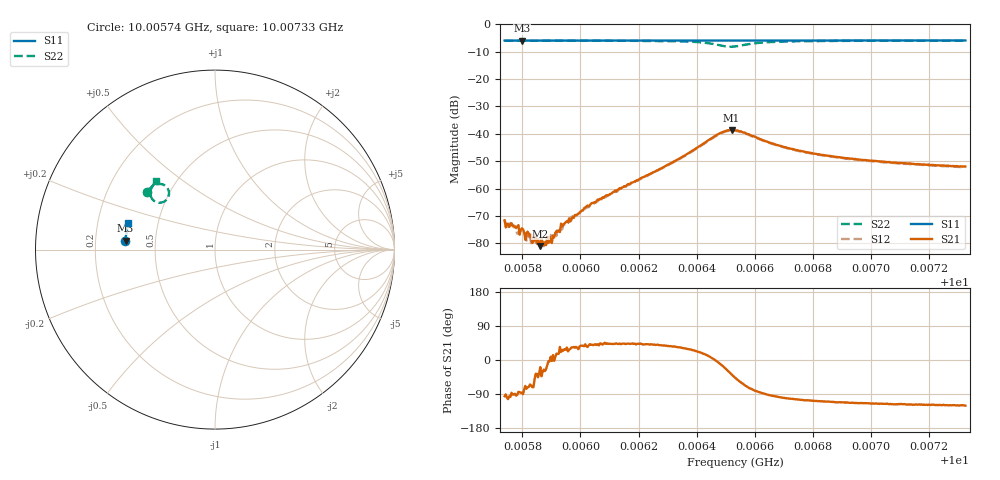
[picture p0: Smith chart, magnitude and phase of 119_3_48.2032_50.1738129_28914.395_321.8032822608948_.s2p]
#  HZ  S  RI  R  50.00
! Rohde & Schwarz Vector Network Analyzer
! Rohde-Schwarz,ZNB20-2Port,1311601062101988,3.16
! Created: UTC 3/20/2024, 11:41:20 AM
! freq[Hz]  re:S11  im:S11  re:S21  im:S21  re:S12  im:S12  re:S22  im:S22
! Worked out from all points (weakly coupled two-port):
!   401 points, 10.00574 GHz to 10.00733 GHz, reference 50 ohm
!   highest |S21| = -38.57 dB at 10.00652 GHz (marker M1); lowest = -81.0 dB at 10.00586 GHz (marker M2)
!   lowest |S11| = -6.0 dB at 10.0058 GHz (marker M3), VSWR 3.01, Z = 16.7 + j2.2 ohm
!   |S11| at or under -10 dB: nowhere
!   |S22| runs from -8.2 to -6.0 dB; largest |S21 - S12| = 0.00077
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1.0005739e10  -0.4992 0.0456  -2.51e-05 -0.000262  -4.52e-05 -0.000262  -0.3794 0.3217
1.0005751e10  -0.499 0.0463  -5.19e-05 -0.000223  -4.05e-05 -0.000197  -0.3791 0.3224
1.0005766e10  -0.4989 0.0473  -3.96e-06 -0.000206  -1.38e-05 -0.000217  -0.3782 0.3234
1.0005782e10  -0.4988 0.0484  -6.82e-06 -0.000204  -6.07e-06 -0.00015  -0.3773 0.3244
1.0005798e10  -0.4986 0.0495  1.25e-05 -0.000187  1.57e-05 -0.000172  -0.3766 0.3254
1.0005822e10  -0.4986 0.0508  4.91e-05 -0.000142  3.18e-05 -0.000117  -0.3753 0.327
1.000583e10  -0.4987 0.0516  5.67e-05 -0.000134  3.41e-05 -9.47e-05  -0.3748 0.3273
1.0005842e10  -0.4985 0.0523  7.27e-05 -9.16e-05  5.51e-05 -0.000114  -0.3742 0.3283
1.0005862e10  -0.4985 0.0536  8.48e-05 -2.9e-05  9.24e-05 -2.64e-05  -0.373 0.3296
1.000587e10  -0.4984 0.054  9.13e-05 -5.4e-05  9.7e-05 -6.42e-05  -0.3726 0.33
1.0005897e10  -0.4982 0.0557  0.000111 1.67e-05  0.000142 9.46e-06  -0.3711 0.3318
1.0005941e10  -0.498 0.0589  0.000202 9.37e-05  0.000187 0.000103  -0.3686 0.3346
1.0006005e10  -0.4976 0.0629  0.000314 0.000245  0.00029 0.00028  -0.3646 0.339
1.0006072e10  -0.4972 0.0672  0.000467 0.000434  0.000448 0.000445  -0.3596 0.3438
1.000627e10  -0.4955 0.0802  0.00173 0.00141  0.00164 0.00148  -0.3373 0.3597
1.0006473e10  -0.4929 0.0931  0.00966 -0.000879  0.00947 -0.000384  -0.2586 0.3296
1.000652e10  -0.4924 0.0955  0.00924 -0.00732  0.00936 -0.00656  -0.2749 0.2733
1.0006532e10  -0.4922 0.0961  0.00801 -0.00844  0.00824 -0.00778  -0.2886 0.265
1.000662e10  -0.4921 0.1016  0.00058 -0.00792  0.000936 -0.00778  -0.355 0.2898
1.0006798e10  -0.4902 0.1132  -0.00133 -0.00421  -0.0011 -0.00419  -0.3563 0.338
1.0007064e10  -0.4867 0.1301  -0.00137 -0.00273  -0.00116 -0.00272  -0.3404 0.364
1.0007326e10  -0.4826 0.1464  -0.00128 -0.00218  -0.00115 -0.00219  -0.3262 0.3803
